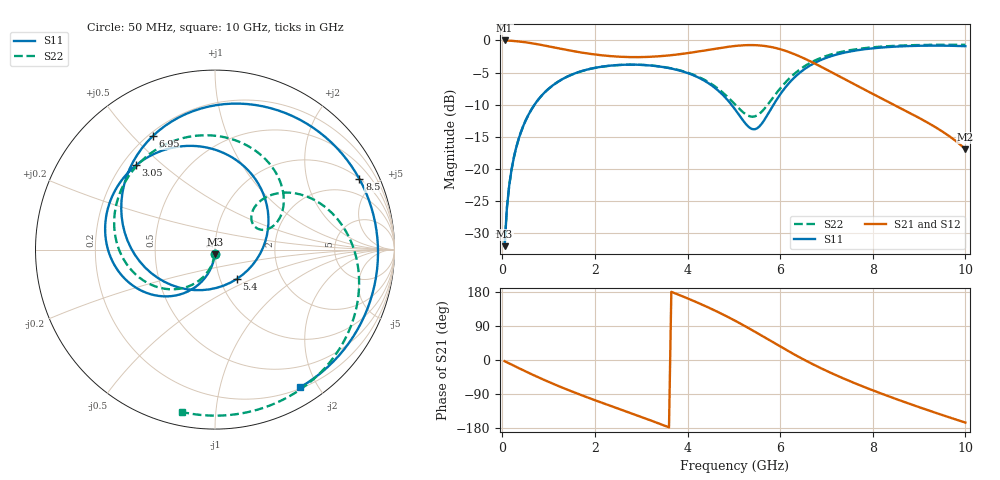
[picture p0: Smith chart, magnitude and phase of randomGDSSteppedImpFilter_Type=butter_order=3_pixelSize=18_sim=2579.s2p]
! freq	dB(S11)	phase(S11)	dB(S12)	phase(S12)
!  dB(S21)	phase(S21)	dB(S22)	phase(S22)
!S-par simulation data
#  GHz  S  DB  R 50
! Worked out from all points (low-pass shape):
!   200 points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, 50 MHz to 10 GHz, reference 50 ohm
!   highest |S21| = -0.01 dB at 50 MHz (marker M1); lowest = -17.0 dB at 10 GHz (marker M2)
!   |S21| within 3 dB of the highest: start of sweep to 6.579 GHz
!   lowest |S11| = -32.0 dB at 50 MHz (marker M3), VSWR 1.05, Z = 49.8 - j2.49 ohm
!   |S11| at or under -10 dB: start of sweep to 697.2 MHz; 4.947 GHz to 5.858 GHz (910.9 MHz wide, 16.9 % of centre)
!   |S22| runs from -32.1 to -0.7 dB; largest |S21 - S12| = 0
!   S11 on the Smith chart (normalised r, x): 50 MHz: 1.00, -0.05; 3.05 GHz: 0.26, +0.41; 5.4 GHz: 1.20, -0.41; 6.95 GHz: 0.22, +0.57; 8.5 GHz: 1.02, +4.07; 10 GHz: 0.22, -1.78
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0.05  -32.05 -92.9  -0.01 -3.1  -0.01 -3.1  -32.05 -93.5
0.1  -26.05 -95.9  -0.02 -6.1  -0.02 -6.1  -26.06 -97.0
0.2  -20.11 -101.5  -0.06 -12.2  -0.06 -12.2  -20.12 -103.8
0.5  -12.54 -117.7  -0.29 -29.9  -0.29 -29.9  -12.55 -123.3
1.1  -6.95 -147.4  -1.06 -62.9  -1.06 -62.9  -6.96 -159.6
1.75  -4.70 -175.5  -1.93 -94.6  -1.93 -94.6  -4.71 165.1
2.3  -3.95 162.7  -2.42 -119.4  -2.42 -119.4  -3.96 137.4
3.05  -3.83 133.2  -2.59 -152.5  -2.59 -152.5  -3.82 101.1
3.4  -4.07 118.6  -2.46 -168.4  -2.46 -168.4  -4.05 84.3
4.3  -6.02 73.1  -1.65 146.9  -1.65 146.9  -5.90 42.3
5.05  -10.98 8.7  -0.85 102.2  -0.85 102.2  -10.15 21.3
5.4  -13.82 -53.7  -0.73 78.5  -0.73 78.5  -11.89 32.9
5.75  -11.31 -125.7  -0.95 53.6  -0.95 53.6  -9.83 46.9
6.05  -7.91 -165.6  -1.47 32.2  -1.47 32.2  -7.06 43.8
6.35  -5.49 165.0  -2.27 11.6  -2.27 11.6  -4.94 32.9
6.7  -3.68 136.7  -3.43 -10.8  -3.43 -10.8  -3.31 17.3
6.95  -2.84 118.8  -4.35 -25.7  -4.35 -25.7  -2.53 5.9
7.6  -1.61 77.4  -6.83 -60.6  -6.83 -60.6  -1.41 -21.6
8.35  -1.02 34.4  -9.62 -96.1  -9.62 -96.1  -0.89 -49.2
8.5  -0.96 26.1  -10.18 -102.8  -10.18 -102.8  -0.83 -54.3
9.25  -0.81 -15.2  -13.08 -134.9  -13.08 -134.9  -0.69 -78.4
10  -0.90 -58.1  -16.95 -165.1  -16.95 -165.1  -0.69 -101.5
